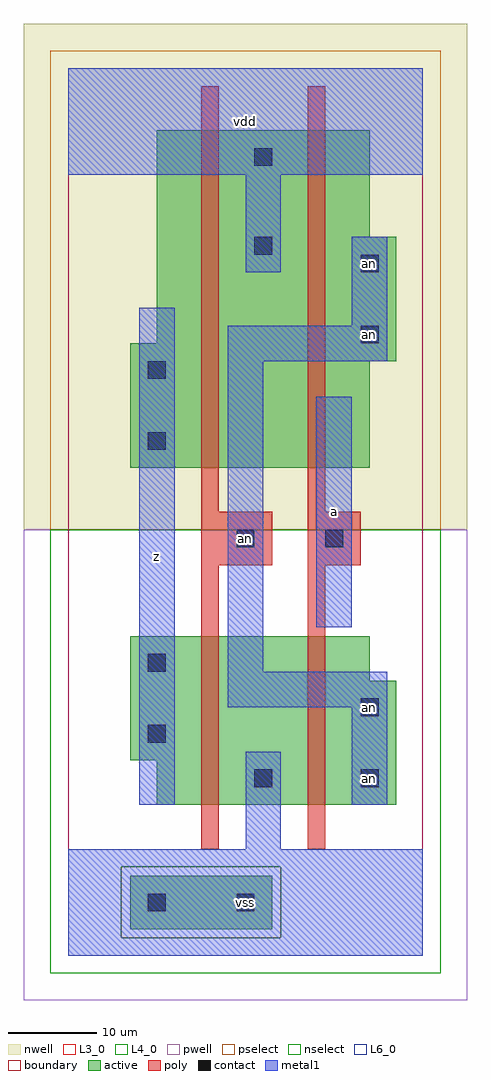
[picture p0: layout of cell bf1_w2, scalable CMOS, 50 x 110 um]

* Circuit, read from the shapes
.subckt bf1_w2 a an vdd vss z
M1 vss an z vss nfet w=19u l=2u
M2 an a vss vss nfet w=19u l=2u
M3 vdd an z n1 pfet w=38u l=2u
M4 an a vdd n1 pfet w=38u l=2u
.ends

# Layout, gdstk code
import gdstk
lib = gdstk.Library(unit=1e-6, precision=1e-09)
def R(c, l, rs):  # rectangles x0, y0, x1, y1
    for r in rs: c.add(gdstk.rectangle(r[:2], r[2:], *l))
L3_0 = (3, 0)
L4_0 = (4, 0)
L6_0 = (6, 0)
contact = (25, 0)
pwell = (41, 0)
nwell = (42, 0)
active = (43, 0)
pselect = (44, 0)
nselect = (45, 0)
poly = (46, 0)
metal1 = (49, 0)
boundary = (63, 0)

bf1_w2 = lib.new_cell('bf1_w2')
R(bf1_w2, L3_0, [(10,17,37,22), (7,22,37,31), (7,31,34,36)])
R(bf1_w2, L4_0, [(7,55,34,67), (7,67,37,69), (10,69,37,81), (10,81,34,93)])
R(bf1_w2, L6_0, [(7,3,23,9)])
R(bf1_w2, contact, [(9,5,11,7), (19,5,21,7), (21,19,23,21), (33,19,35,21), (9,24,11,26), (33,27,35,29), (9,32,11,34), (19,46,21,48), (29,46,31,48), (9,57,11,59), (9,65,11,67), (33,69,35,71), (33,77,35,79), (21,79,23,81), (21,89,23,91)])
R(bf1_w2, pwell, [(-5,-5,45,48)])
R(bf1_w2, nwell, [(-5,48,45,105)])
R(bf1_w2, active, [(7,3,23,9), (10,17,37,22), (7,22,37,31), (7,31,34,36), (7,55,34,67), (7,67,37,69), (10,69,37,81), (10,81,34,93)])
R(bf1_w2, pselect, [(6,2,24,10), (-2,48,42,102)])
R(bf1_w2, nselect, [(-2,-2,42,2), (-2,2,6,10), (24,2,42,10), (-2,10,42,48)])
R(bf1_w2, poly, [(15,12,17,44), (27,12,29,44), (15,44,23,50), (27,44,33,50), (15,50,17,98), (27,50,29,98)])
R(bf1_w2, metal1, [(0,0,40,12), (20,12,24,23), (8,17,12,73), (32,17,36,28), (18,28,36,32), (18,32,22,67), (28,37,32,63), (18,67,36,71), (32,71,36,81), (20,77,24,88), (0,88,40,100)])
R(bf1_w2, boundary, [(0,0,40,100)])
bf1_w2.add(gdstk.Label('an', (20,47), layer=49, texttype=0))
bf1_w2.add(gdstk.Label('an', (34,20), layer=49, texttype=0))
bf1_w2.add(gdstk.Label('an', (34,28), layer=49, texttype=0))
bf1_w2.add(gdstk.Label('an', (34,78), layer=49, texttype=0))
bf1_w2.add(gdstk.Label('an', (34,70), layer=49, texttype=0))
bf1_w2.add(gdstk.Label('vss', (20,6), layer=49, texttype=0))
bf1_w2.add(gdstk.Label('z', (10,45), layer=49, texttype=0))
bf1_w2.add(gdstk.Label('vdd', (20,94), layer=49, texttype=0))
bf1_w2.add(gdstk.Label('a', (30,50), layer=49, texttype=0))

lib.write_gds('bf1_w2.gds')
